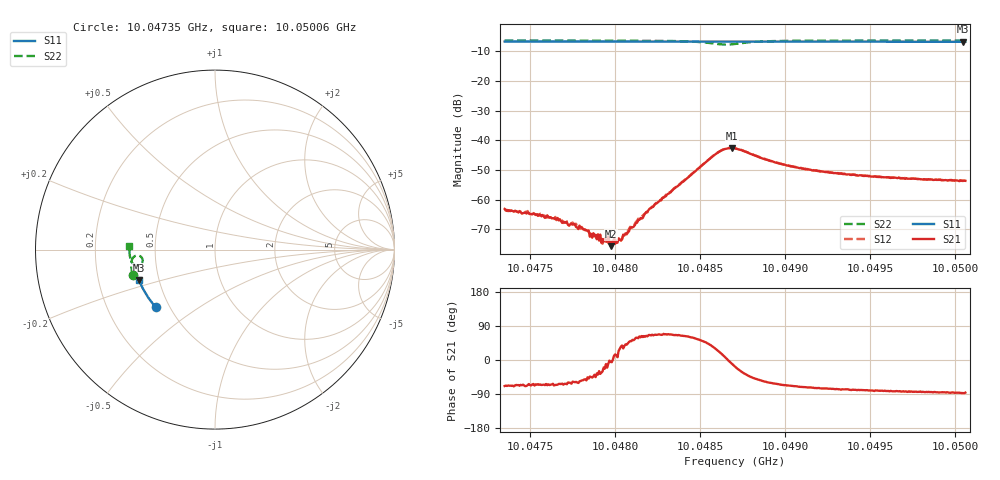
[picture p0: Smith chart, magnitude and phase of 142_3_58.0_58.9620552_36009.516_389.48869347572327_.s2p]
#  HZ  S  RI  R  50.00
! Rohde & Schwarz Vector Network Analyzer
! Rohde-Schwarz,ZNB20-2Port,1311601062101988,3.16
! Created: UTC 3/21/2024, 12:56:41 AM
! freq[Hz]  re:S11  im:S11  re:S21  im:S21  re:S12  im:S12  re:S22  im:S22
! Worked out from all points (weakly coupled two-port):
!   401 points, 10.04735 GHz to 10.05006 GHz, reference 50 ohm
!   highest |S21| = -42.60 dB at 10.04868 GHz (marker M1); lowest = -75.7 dB at 10.04797 GHz (marker M2)
!   lowest |S11| = -6.8 dB at 10.05005 GHz (marker M3), VSWR 2.67, Z = 19.3 - j8.25 ohm
!   |S11| at or under -10 dB: nowhere
!   |S22| runs from -7.8 to -6.4 dB; largest |S21 - S12| = 0.00049
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1.0047348e10  -0.3304 -0.3207  0.000254 -0.000651  0.000303 -0.00061  -0.4574 -0.1417
1.0047565e10  -0.3399 -0.3098  0.000213 -0.000478  0.000274 -0.000483  -0.461 -0.1266
1.0047755e10  -0.348 -0.3  0.000208 -0.000329  0.000232 -0.000313  -0.4639 -0.1128
1.0047803e10  -0.3498 -0.2975  0.000198 -0.000272  0.000213 -0.000274  -0.4644 -0.1093
1.0047864e10  -0.3524 -0.2944  0.000158 -0.000165  0.000204 -0.000157  -0.4651 -0.1045
1.0047884e10  -0.3531 -0.2931  0.000181 -0.000182  0.000188 -0.000159  -0.4654 -0.103
1.0047918e10  -0.3545 -0.2914  0.000157 -0.000103  0.000198 -0.000101  -0.4659 -0.1003
1.0047952e10  -0.3559 -0.2895  0.000183 -6.75e-05  0.000203 -2.76e-05  -0.4662 -0.0976
1.0047972e10  -0.3566 -0.2886  0.000164 -1.44e-05  0.000193 2.37e-05  -0.4663 -0.0958
1.0047986e10  -0.3573 -0.288  0.000173 3.56e-06  0.000193 5.1e-05  -0.4664 -0.0947
1.0048026e10  -0.359 -0.2856  0.000184 0.000105  0.000168 0.000133  -0.4669 -0.0913
1.0048135e10  -0.3632 -0.28  0.000245 0.000383  0.000201 0.000434  -0.4671 -0.0818
1.0048257e10  -0.3679 -0.2734  0.000353 0.000863  0.000291 0.000884  -0.4664 -0.0691
1.0048589e10  -0.3796 -0.2548  0.00504 0.00289  0.00487 0.00325  -0.4206 -0.0349
1.0048637e10  -0.3811 -0.2521  0.00683 0.0014  0.0068 0.00181  -0.4058 -0.0492
1.0048684e10  -0.3825 -0.2498  0.00731 -0.00121  0.00738 -0.000743  -0.4054 -0.0719
1.0048705e10  -0.3834 -0.2487  0.00694 -0.00224  0.00712 -0.0018  -0.4104 -0.0796
1.0048949e10  -0.392 -0.2351  0.0019 -0.00373  0.00217 -0.00365  -0.463 -0.0714
1.0049159e10  -0.3987 -0.223  0.000915 -0.00297  0.0011 -0.00299  -0.472 -0.0491
1.0049613e10  -0.4118 -0.196  0.000296 -0.00233  0.000451 -0.00234  -0.4764 -0.0119
1.0050047e10  -0.4226 -0.1693  9.99e-05 -0.00208  0.000221 -0.00205  -0.4764 0.0192
1.0050061e10  -0.423 -0.1687  0.000142 -0.00207  0.000216 -0.00206  -0.4764 0.0202
